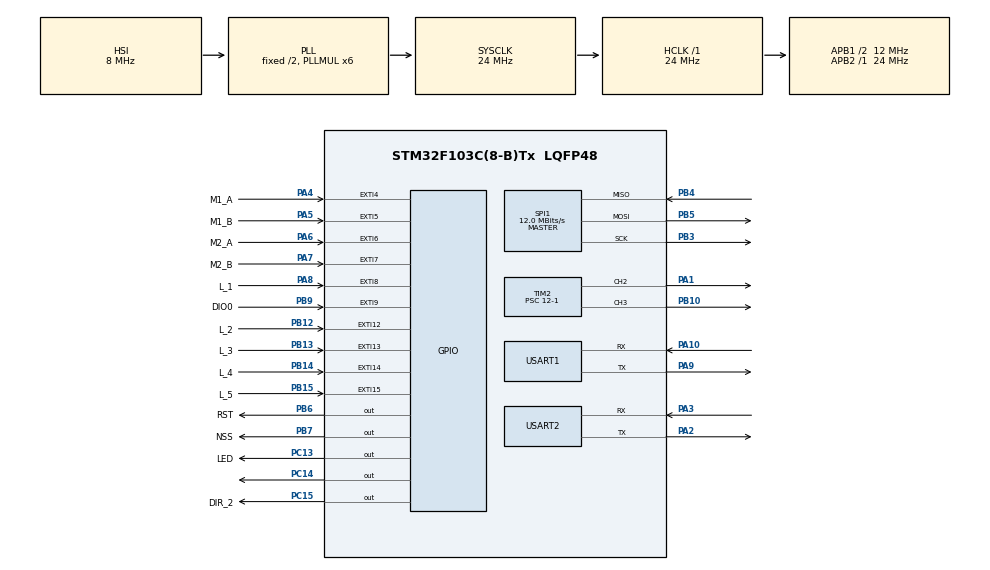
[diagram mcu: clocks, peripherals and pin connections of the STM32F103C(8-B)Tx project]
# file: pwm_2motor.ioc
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Mcu.Family=STM32F1
Mcu.Name=STM32F103C(8-B)Tx
Mcu.Package=LQFP48
NVIC.EXTI15_10_IRQn=true\:0\:0\:false\:false\:true\:true\:true\:true
NVIC.EXTI4_IRQn=true\:0\:0\:false\:false\:true\:true\:true\:true
NVIC.EXTI9_5_IRQn=true\:0\:0\:false\:false\:true\:true\:true\:true
NVIC.PriorityGroup=NVIC_PRIORITYGROUP_4
NVIC.TIM3_IRQn=true\:0\:0\:false\:false\:true\:true\:true\:true
NVIC.TIM4_IRQn=true\:0\:0\:false\:false\:true\:true\:true\:true
NVIC.USART1_IRQn=true\:0\:0\:false\:false\:true\:true\:true\:true
NVIC.USART2_IRQn=true\:0\:0\:false\:false\:true\:true\:true\:true
PA1.Signal=S_TIM2_CH2
PA10.Mode=Asynchronous
PA10.Signal=USART1_RX
PA13.Mode=Serial_Wire
PA13.Signal=SYS_JTMS-SWDIO
PA14.Mode=Serial_Wire
PA14.Signal=SYS_JTCK-SWCLK
PA2.Mode=Asynchronous
PA2.Signal=USART2_TX
PA3.Mode=Asynchronous
PA3.Signal=USART2_RX
PA4.GPIO_Label=M1_A
PA4.GPIO_ModeDefaultEXTI=GPIO_MODE_IT_RISING_FALLING
PA4.Signal=GPXTI4
PA5.GPIO_Label=M1_B
PA5.GPIO_ModeDefaultEXTI=GPIO_MODE_IT_RISING_FALLING
PA5.Signal=GPXTI5
PA6.GPIO_Label=M2_A
PA6.GPIO_ModeDefaultEXTI=GPIO_MODE_IT_RISING_FALLING
PA6.Signal=GPXTI6
PA7.GPIO_Label=M2_B
PA7.GPIO_ModeDefaultEXTI=GPIO_MODE_IT_RISING_FALLING
PA7.Signal=GPXTI7
PA8.GPIO_Label=L_1
PA8.GPIO_ModeDefaultEXTI=GPIO_MODE_IT_RISING_FALLING
PA8.GPIO_PuPd=GPIO_PULLUP
PA8.Signal=GPXTI8
PA9.Mode=Asynchronous
PA9.Signal=USART1_TX
PB10.Signal=S_TIM2_CH3
PB12.GPIO_Label=L_2
PB12.GPIO_ModeDefaultEXTI=GPIO_MODE_IT_RISING_FALLING
PB12.GPIO_PuPd=GPIO_PULLUP
PB12.Signal=GPXTI12
PB13.GPIO_Label=L_3
PB13.GPIO_ModeDefaultEXTI=GPIO_MODE_IT_RISING_FALLING
PB13.GPIO_PuPd=GPIO_PULLUP
PB13.Signal=GPXTI13
PB14.GPIO_Label=L_4
PB14.GPIO_ModeDefaultEXTI=GPIO_MODE_IT_RISING_FALLING
PB14.GPIO_PuPd=GPIO_PULLUP
PB14.Signal=GPXTI14
PB15.GPIO_Label=L_5
PB15.GPIO_ModeDefaultEXTI=GPIO_MODE_IT_RISING_FALLING
PB15.GPIO_PuPd=GPIO_PULLUP
PB15.Signal=GPXTI15
PB3.Mode=Full_Duplex_Master
PB3.Signal=SPI1_SCK
PB4.Mode=Full_Duplex_Master
PB4.Signal=SPI1_MISO
PB5.Mode=Full_Duplex_Master
PB5.Signal=SPI1_MOSI
PB6.GPIO_Label=RST
PB6.PinState=GPIO_PIN_SET
PB6.Signal=GPIO_Output
PB7.GPIO_Label=NSS
PB7.GPIO_PuPd=GPIO_PULLDOWN
PB7.Signal=GPIO_Output
PB9.GPIO_Label=DIO0
PB9.GPIO_ModeDefaultEXTI=GPIO_MODE_IT_RISING_FALLING
PB9.GPIO_PuPd=GPIO_PULLDOWN
PB9.Signal=GPXTI9
PC13-TAMPER-RTC.GPIO_Label=LED
PC13-TAMPER-RTC.Signal=GPIO_Output
PC14-OSC32_IN.Signal=GPIO_Output
PC15-OSC32_OUT.GPIO_Label=DIR_2
PC15-OSC32_OUT.Signal=GPIO_Output
ProjectManager.HeapSize=0x200
ProjectManager.StackSize=0x400
ProjectManager.TargetToolchain=STM32CubeIDE
RCC.AHBFreq_Value=24000000
RCC.APB1CLKDivider=RCC_HCLK_DIV2
RCC.APB1Freq_Value=12000000
RCC.APB1TimFreq_Value=24000000
RCC.APB2Freq_Value=24000000
RCC.APB2TimFreq_Value=24000000
RCC.HCLKFreq_Value=24000000
RCC.PLLMUL=RCC_PLL_MUL6
RCC.SYSCLKFreq_VALUE=24000000
RCC.SYSCLKSource=RCC_SYSCLKSOURCE_PLLCLK
RCC.USBFreq_Value=24000000
SH.S_TIM2_CH2.0=TIM2_CH2,PWM Generation2 CH2
SH.S_TIM2_CH3.0=TIM2_CH3,PWM Generation3 CH3
SPI1.CalculateBaudRate=12.0 MBits/s
SPI1.Direction=SPI_DIRECTION_2LINES
SPI1.Mode=SPI_MODE_MASTER
SPI1.VirtualType=VM_MASTER
TIM2.Channel-PWM\ Generation2\ CH2=TIM_CHANNEL_2
TIM2.Channel-PWM\ Generation3\ CH3=TIM_CHANNEL_3
TIM2.Period=1000-1
TIM2.Prescaler=12-1
TIM3.Period=5000-1
TIM3.Prescaler=24-1
TIM4.Period=10000-1
TIM4.Prescaler=24-1
USART1.VirtualMode=VM_ASYNC
USART2.VirtualMode=VM_ASYNC
VP_TIM3_VS_ClockSourceINT.Mode=Internal
VP_TIM4_VS_ClockSourceINT.Mode=Internal
board=custom

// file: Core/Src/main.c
/* USER CODE BEGIN Header */
/**
  ******************************************************************************
  * @file           : main.c
  * @brief          : Main program body
  ******************************************************************************
  * @attention
  *
  * Copyright (c) 2023 STMicroelectronics.
  * All rights reserved.
  *
  * This software is licensed under terms that can be found in the LICENSE file
  * in the root directory of this software component.
  * If no LICENSE file comes with this software, it is provided AS-IS.
  *
  ******************************************************************************
  */
/* USER CODE END Header */
#include "main.h"

/* USER CODE BEGIN Includes */
#include "string.h"
#include "stdio.h"
#include "stdlib.h"
#include "stdbool.h"
#include "LoRa.h"

/* USER CODE END Includes */

/* USER CODE BEGIN PTD */

/*
 * struct includes variables of pid control
 * param:	kp --- propotion
 * 			ki --- integral		kb 		--- anti windup
 * 			kd --- derivative	alpha 	--- lowpass filter
 **/
typedef struct pid
{
	float kp 	;
	float ki 	;
	float kd	;
	float kb 	;
	float alpha ;
	bool  dir	;
}pid;

/*
 * struct includes variables of motor's feedback
 * param:	current_Pos --- current position uint: radian
 * 			real_Pos	--- position uint: meters
 * 			current_Vel --- current velocity uint: rad/s
 * 			RPM			--- roll per minute
 **/

typedef struct motor
{
	float current_Pos	;
	float real_Pos		;
	float current_Vel	;
	float RPM			;
}motor;

/*Lora init*/
LoRa my_lora;

/* USER CODE END PTD */

/* USER CODE BEGIN PD */

#define pi 				3.14
#define rad_round		2*pi
#define	rad_pulse 		pi/748
#define r_Wheel			0.0325
#define sample_time		0.005
#define cl_Wise			1
#define cntr_cl_Wise	0
/* USER CODE END PD */

SPI_HandleTypeDef hspi1;

TIM_HandleTypeDef htim2;
TIM_HandleTypeDef htim3;
TIM_HandleTypeDef htim4;

UART_HandleTypeDef huart1;
UART_HandleTypeDef huart2;

/* USER CODE BEGIN PV */
uint8_t *rx_buff, rx_index = 0, cnt =1;
uint8_t rx_buffer[20], rx_data, rx_indx ;
uint8_t prevState_1 =0, prevState_2 = 0, state_line  ;
uint16_t pwm1 ,pwm2 , tim4_tick =0, DesiredPos, DesiredSpeed ;
uint16_t cnt_vel_1=0 , cnt_vel_2=0 ;
int32_t cnt_pos_1 = 0, cnt_pos_2 = 0, round_1 =0, round_2 = 0;
//float current_Pos1=0, current_Pos2=0, vel_Rad1 =0 , vel_Rad2 =0;
bool run = false, flag = false;
motor motor_1;
motor motor_2;
pid pid_1,pid_2;

/* USER CODE END PV */

void SystemClock_Config(void);
static void MX_GPIO_Init(void);
static void MX_TIM2_Init(void);
static void MX_TIM3_Init(void);
static void MX_TIM4_Init(void);
static void MX_USART1_UART_Init(void);
static void MX_SPI1_Init(void);
static void MX_USART2_UART_Init(void);
/* USER CODE BEGIN PFP */

#ifdef __GNUC__
	#define PUTCHAR_PROTOTYPE int __io_putchar(int ch)
#else
	#define PUTCHAR_PROTOTYPE int fputc(int ch, FILE *f)
	#define GETCHAR_PROTOTYPE int fgetc(FILE *f)
#endif

PUTCHAR_PROTOTYPE
	{
		HAL_UART_Transmit(&huart2, (uint8_t*)&ch,1,100);
		return ch;
	}

/* USER CODE END PFP */

/* USER CODE BEGIN 0 */

//int _write(int file, char *ptr, int len)
//{
//  /* Implement your write code here, this is used by puts and printf for example */
//  int i=0;
//  for(i=0 ; i<len ; i++)
//    ITM_SendChar((*ptr++));
//  return len;
//}
//
uint8_t count =0;

///-------------PROTOTYPE--------------------///

void handle_rx_data(uint8_t* receive_data, uint8_t count);
uint16_t pid_velo(float setpoint, float current, pid pid);
uint16_t pid_pos(float setpoint, float current,  pid pid);
uint16_t pid_line(float setpoint, float current, pid pid);
void setRoute(uint8_t state);
void clockWise(motor motor);
void cnterClockwise(motor motor);

/*-----calback function when recieve data via uart-----------
 * Using recieve_IT()
 * */
void HAL_UART_RxCpltCallback(UART_HandleTypeDef *huart){
	uint8_t i;
				if(huart->Instance == USART2) //uart1
				{
						if(rx_indx==0) {for (i=0;i<20;i++) rx_buffer[i] = 0;}

				switch(rx_data) {
		            /* dung dong co */
		            case 'e':
		                run =false;
		                break;

		            /* dong co chay */
		            case 'r':
		                run = true;
		                break;
		            case 'k':
						flag = true;
						break;
		            case 'l':
						flag = false;
						break;
		            case 'b':
		//								reset();
										break;
		            case 's':
		                DesiredPos = atoi((const char *)rx_buffer);
		                memset(&rx_buffer, 0, sizeof(rx_buffer));
		                rx_indx = 0;
		                break;
		            case 'v':
		                DesiredSpeed = atoi((const char *)rx_buffer);
		                //DesiredVel = DesiredSpeed * (pi/30);
		                memset(&rx_buffer, 0, sizeof(rx_buffer));
		                rx_indx = 0;
		                break;

//		            case 'p':
//		            	kp = atof((const char *)rx_buffer);
//		            	memset(&rx_buffer, 0, sizeof(rx_buffer));
//		            	rx_index = 0 ;
//		            	break;
//
//		            case 'i':
//						ki = atof((const char *)rx_buffer);
//						memset(&rx_buffer, 0, sizeof(rx_buffer));
//						rx_index = 0 ;
//						break;
//		            case 'd':
//						kd = atof((const char *)rx_buffer);
//						memset(&rx_buffer, 0, sizeof(rx_buffer));
//						rx_index = 0 ;
//						break;

		            case '0':
		            case '1':
		            case '2':
		            case '3':
		            case '4':
		            case '5':
		            case '6':
		            case '7':
		            case '8':
		            case '9':
		            case '.':
		            case '-':
		                rx_buffer[rx_indx++] |= rx_data;
		                break;
		            default:
		                break;
		        }
						HAL_UART_Receive_IT(&huart1,&rx_data,1);
				}
	}

void handle_rx_data(uint8_t* receive_data, uint8_t count){

	if(!count)
		return;

	rx_buff = (uint8_t*)malloc(cnt*sizeof(uint8_t));
	for(int i =0 ; i< count; i++){

		switch(receive_data[i]){

		case (uint8_t)'r':
			////
			break;

		case (uint8_t)'s':
			////
			break;

		case (uint8_t)'v':
			////
			DesiredSpeed = atoi((const char*)rx_buff);
			memset(rx_buff,0,sizeof(*rx_buff));
			rx_index = 0;
			cnt =1;
			break;

		case (uint8_t)'p':
			DesiredPos = atoi((const char*)rx_buff);
			memset(rx_buff,0,sizeof(*rx_buff));
			rx_index =0;
			cnt =1;
			break;

		case '0':
		case '1':
		case '2':
		case '3':
		case '4':
		case '5':
		case '6':
		case '7':
		case '8':
		case '9':
			cnt ++;
			rx_buff = (uint8_t*)realloc(rx_buff,cnt*sizeof(uint8_t));
			rx_buff[rx_index++] = receive_data[i];
			break;
		default:
			break;
		}

	}

	if(rx_buff != NULL)
		{free(rx_buff);}

}

	/*--------------xu li ngat ngoai---------------*/
void HAL_GPIO_EXTI_Callback(uint16_t GPIO_Pin)
{
  /* Prevent unused argument(s) compilation warning */
  UNUSED(GPIO_Pin);
  /* NOTE: This function Should not be modified, when the callback is needed,
           the HAL_GPIO_EXTI_Callback could be implemented in the user file
   */

  /*DIO0 interupt detect data transmit or reveived */
  if(GPIO_Pin == DIO0_Pin){

	  HAL_GPIO_TogglePin(LED_GPIO_Port, LED_Pin);

  }

  /*
   * Using external interrupt pins to calculate feedback from encoder of motor
   * EXTI in rising and falling mode --- 4 counts for 1 pulse
   * Motor 1: channel A -> EXTI 4 ; channel B -> EXTI 5
   * Motor 2: channel A -> EXTI 6 ; channel B -> EXTI 7*/
  //// encoder motor 1 channel A

  if(GPIO_Pin == M1_A_Pin){
	  uint8_t state =0;
	  state  = HAL_GPIO_ReadPin(GPIOA, M1_A_Pin);
	  state  = (state << 1) | HAL_GPIO_ReadPin(GPIOA, M1_B_Pin);
	  state &= 0x03;
	  switch (state){
	  case 0:
		  if(prevState_1 == 1)
			  cnt_pos_1 ++;
		  else
			  cnt_pos_1 --;
	  break;
	  case 1:
	  		  if(prevState_1 == 3)
	  			  cnt_pos_1 ++;
	  		  else
	  			  cnt_pos_1 --;
	  break;
	  case 2:
	  		  if(prevState_1 == 0)
	  			  cnt_pos_1 ++;
	  		  else
	  			  cnt_pos_1 --;
	  break;
	  case 3:
	  		  if(prevState_1 == 2)
	  			  cnt_pos_1 ++;
	  		  else
	  			  cnt_pos_1 --;
	  break;
	  }
	  cnt_vel_1 ++;
	  prevState_1 = state;
	  if(cnt_pos_1 >1495){
		  round_1 ++;
		  cnt_pos_1 =0;
	  }
	  if(cnt_pos_1 < -1495){
		  round_1 --;
		  cnt_pos_1 =0;
	  }
  }

  //// encoder motor 1 channel B

  if(GPIO_Pin == M1_B_Pin){
  	  uint8_t state =0;
  	  state  = HAL_GPIO_ReadPin(GPIOA, M1_A_Pin);
  	  state  = (state << 1) | HAL_GPIO_ReadPin(GPIOA, M1_B_Pin);
  	  state &= 0x03;
  	  switch (state){
  	  case 0:
  		  if(prevState_1 == 1)
  			  cnt_pos_1 ++;
  		  else
  			  cnt_pos_1 --;
  	  break;
  	  case 1:
		  if(prevState_1 == 3)
			  cnt_pos_1 ++;
		  else
			  cnt_pos_1 --;
  	  break;
  	  case 2:
		  if(prevState_1 == 0)
			  cnt_pos_1 ++;
		  else
			  cnt_pos_1 --;
  	  break;
  	  case 3:
		  if(prevState_1 == 2)
			  cnt_pos_1 ++;
		  else
			  cnt_pos_1 --;
  	  break;
  	  }
  	  cnt_vel_1 ++;
  	  prevState_1 = state;
  	  if(cnt_pos_1 >1495){
  		  round_1 ++;
  		  cnt_pos_1 =0;
  	  }
  	  if(cnt_pos_1 < -1495){
  		  round_1 --;
  		  cnt_pos_1 =0;
  	  }
    }

  //// encoder motor 2 channel A

  if(GPIO_Pin == M2_A_Pin){
  	  uint8_t state =0;
  	  state  = HAL_GPIO_ReadPin(GPIOA, M2_A_Pin);
  	  state  = (state << 1) | HAL_GPIO_ReadPin(GPIOA, M2_B_Pin);
  	  state &= 0x03;
  	  switch (state){
  	  case 0:
  		  if(prevState_2 == 1)
  			  cnt_pos_2 ++;
  		  else
  			  cnt_pos_2 --;
  	  break;
  	  case 1:
  	  		  if(prevState_2 == 3)
  	  			  cnt_pos_2 ++;
  	  		  else
  	  			  cnt_pos_2 --;
  	  break;
  	  case 2:
  	  		  if(prevState_2 == 0)
  	  			  cnt_pos_2 ++;
  	  		  else
  	  			  cnt_pos_2 --;
  	  break;
  	  case 3:
  	  		  if(prevState_2 == 2)
  	  			  cnt_pos_2 ++;
  	  		  else
  	  			  cnt_pos_2 --;
  	  break;
  	  }
  	  cnt_vel_2 ++;
  	  prevState_2 = state;
  	  if(cnt_pos_2 >1495){
  		  round_2 ++;
  		  cnt_pos_2 =0;
  	  }
  	  if(cnt_pos_2 < -1495){
  		  round_2 --;
  		  cnt_pos_2 =0;
  	  }
    }

    //// encoder motor 2 channel B

    if(GPIO_Pin == M2_B_Pin){
    	  uint8_t state =0;
    	  state  = HAL_GPIO_ReadPin(GPIOA, M2_A_Pin);
    	  state  = (state << 1) | HAL_GPIO_ReadPin(GPIOA, M2_B_Pin);
    	  state &= 0x03;
    	  switch (state){
    	  case 0:
    		  if(prevState_2 == 1)
    			  cnt_pos_2 ++;
    		  else
    			  cnt_pos_2 --;
    	  break;
    	  case 1:
    	  		  if(prevState_2 == 3)
    	  			  cnt_pos_2 ++;
    	  		  else
    	  			  cnt_pos_2 --;
    	  break;
    	  case 2:
    	  		  if(prevState_2 == 0)
    	  			  cnt_pos_2 ++;
    	  		  else
    	  			  cnt_pos_2 --;
    	  break;
    	  case 3:
    	  		  if(prevState_2 == 2)
    	  			  cnt_pos_2 ++;
    	  		  else
    	  			  cnt_pos_2 --;
    	  break;
    	  }
    	  cnt_vel_2 ++;
    	  prevState_2 = state;
    	  if(cnt_pos_2 >1495){
    		  round_2 ++;
    		  cnt_pos_2 =0;
    	  }
    	  if(cnt_pos_2 < -1495){
    		  round_2 --;
    		  cnt_pos_2 =0;
    	  }
      }

    /*
     * Handle interupt for 5 digtal signal from module line tracking
     * Read each pin and save value to 1 byte uin8_t
     * convert state byte to direction of model to pid control 2 wheels.
     *   */
    if(GPIO_Pin == L_1_Pin){
    	uint8_t state;
    	state = HAL_GPIO_ReadPin(L_1_GPIO_Port, L_1_Pin);
    	state_line = (state & 1)?(state_line | (1<<0U)):(state_line ^ (1<<0U));
    }

    if(GPIO_Pin == L_2_Pin){
    	uint8_t state;
    	state = HAL_GPIO_ReadPin(L_2_GPIO_Port, L_2_Pin);
    	state_line = (state & 1)?(state_line | (1<<1U)):(state_line ^ (1<<1U));
    }

    if(GPIO_Pin == L_3_Pin){
    	uint8_t state;
    	state = HAL_GPIO_ReadPin(L_3_GPIO_Port, L_3_Pin);
    	state_line = (state & 1)?(state_line | (1<<2U)):(state_line ^ (1<<2U));
    }

    if(GPIO_Pin == L_4_Pin){
    	uint8_t state;
    	state = HAL_GPIO_ReadPin(L_4_GPIO_Port, L_4_Pin);
    	state_line = (state & 1)?(state_line | (1<<3U)):(state_line ^ (1<<3U));
    }

    if(GPIO_Pin == L_5_Pin){
    	uint8_t state;
    	state = HAL_GPIO_ReadPin(L_5_GPIO_Port, L_5_Pin);
    	state_line = (state & 1)?(state_line | (1<<4U)):(state_line ^ (1<<4U));

    }
}

/**
 * Using timer callback function() to calculate position and velocity of 2 motors
 * TIM3: period 5ms --- calculate position and velocity
 * TIM4: period 1ms --- transmit data via protocol to host
 * */
void HAL_TIM_PeriodElapsedCallback(TIM_HandleTypeDef *htim){

	if(htim->Instance == TIM3){

		motor_1.current_Pos = round_1*rad_round + cnt_pos_1*rad_pulse; ///position motor 1: (rad)
		motor_1.real_Pos	= motor_1.current_Pos * r_Wheel; 		   /// L = (rad)*R
		motor_1.RPM 		= cnt_vel_1 * 8.02139;		 /// v = count*(1/1496)/(0.005/60) (rpm)
		cnt_vel_1			= 0;
		motor_1.current_Vel	= motor_1.RPM * (pi/30); 	 /// v (rad/s)

		motor_2.current_Pos = round_2*rad_round + cnt_pos_2*rad_pulse; ///position motor 1: (rad)
		motor_2.real_Pos	= motor_2.current_Pos * r_Wheel; 		   /// L = (rad)*R
		motor_2.RPM 		= cnt_vel_2 * 8.02139;		 /// v = count*(1/1496)/(0.005/60) (rpm)
		cnt_vel_2			= 0;
		motor_2.current_Vel	= motor_2.RPM * (pi/30); 	 /// v (rad/s)

		pwm1 = pid_velo(DesiredSpeed, motor_1.RPM, pid_1);

		if(run == true){
			__HAL_TIM_SET_COMPARE(&htim2,TIM_CHANNEL_2,DesiredSpeed);
			//__HAL_TIM_SET_COMPARE(&htim2,TIM_CHANNEL_3, 480);

		}
		if(run == false){
			__HAL_TIM_SET_COMPARE(&htim2,TIM_CHANNEL_2,0 );
		}

	}
	if(htim->Instance == TIM4){
		if(run == true){
		tim4_tick ++;
		if(tim4_tick == 16){
			printf("V%d\r\n", (int)motor_1.RPM);
			tim4_tick = 0;
		}
//		if(tim4_tick == 8){
//			printf("P%f\r\n", motor_1.current_Pos);
//			tim4_tick = 0;
//		}
		}

	}

}

/*
 * brief: pid control calculate
 * param: setpoint	--- offset value
 * 		  current	--- current value
 * 		  kp,ki,kd	--- P,I,D ratio
*  return: value for pwm
**/
uint16_t pid_velo(float setpoint, float current, pid pid){

	static float ui_prev =0, err_prev = 0, err_sat = 0, ud_ftr_prev = 0;
	float err,up,ui,ud,pid_term,pid_sat,err_windup, ud_filter;
	uint16_t pwm;
	int16_t HILIM = 1000, LOLIM = 0;

	err 		= setpoint - current						;		/*Error*/
	up			= pid.kp*err								;		/*Propotion*/
	err_windup	= pid.ki*err + pid.kb*err_sat				;		/*Antiwindup*/
	ui			= ui_prev + err_windup*sample_time			;		/*Intergral*/
	ud			= pid.kd*(err-err_prev)/sample_time			;		/*Derivatvie*/
	ud_filter	= ud*pid.alpha + (1 - pid.alpha)*ud_ftr_prev;		/*Lowpass filter*/
	pid_term	= up + ui + ud_filter						;

	////--------SATURATION---------///
	if(pid_term > HILIM)
		pid_sat = HILIM			;
	if(pid_term < LOLIM)
		pid_sat = LOLIM			;
	else
		pid_sat = pid_term		;
	err_sat = pid_sat - pid_term;
	/*-------------------------------*/

	/*Store previous value for next pid calculate*/
	ui_prev = ui			;
	err_prev = err			;
	ud_ftr_prev = ud_filter	;
	/*-------------------------------------------*/

	pwm = (unsigned int)pid_sat	;
	return pwm;
}

uint16_t pid_pos(float setpoint, float current,  pid pid){

	static float ui_prev =0, err_prev = 0, err_sat = 0, ud_ftr_prev = 0;
	float err,up,ui,ud,pid_term,pid_sat,err_windup, ud_filter;
	uint16_t pwm;
	int16_t HILIM = 1000, LOLIM = -1000;

	err 		= setpoint - current						;		/*Error*/
	up			= pid.kp*err								;		/*Propotion*/
	err_windup	= pid.ki*err + pid.kb*err_sat				;		/*Antiwindup*/
	ui			= ui_prev + err_windup*sample_time			;		/*Intergral*/
	ud			= pid.kd*(err-err_prev)/sample_time			;		/*Derivatvie*/
	ud_filter	= ud*pid.alpha + (1 - pid.alpha)*ud_ftr_prev;		/*Lowpass filter*/
	pid_term	= up + ui + ud_filter						;

	////--------SATURATION---------///
	if(pid_term > HILIM)
		pid_sat = HILIM			;
	if(pid_term < LOLIM)
		pid_sat = LOLIM			;
	else
		pid_sat = pid_term		;

	////--------Direction---------///
	if(pid_sat > 0)
		pid.dir = 1;
	if(pid_sat < 0)
		pid.dir = 0;

	/*Store previous value for next pid calculate*/
	ui_prev = ui					;
	err_prev = err					;
	ud_ftr_prev = ud_filter			;
	err_sat = pid_sat - pid_term	;
	/*-------------------------------------------*/

	pwm = abs((int)pid_sat)			;
	return pwm;

}

void clockWise(motor motor){

}

uint16_t pid_line(float setpoint, float current, pid pid){

	static float ui_prev =0, err_prev = 0;
	float err,up,ui,ud,pid_term;
	uint16_t pwm;
	int16_t HILIM = 200, LOLIM = -200;
	err = setpoint - current;
	up = pid.kp*err;
	ui = ui_prev + pid.ki*err*sample_time;
	ud = pid.kd*(err - err_prev)/sample_time;
	pid_term = up + ui + ud;
	if(pid_term > HILIM)
		pid_term = HILIM			;
	if(pid_term < LOLIM)
		pid_term = LOLIM			;
	pwm = (uint16_t)abs(pid_term)	;
	return pwm;
}
/* USER CODE END 0 */

int main(void)
{

  /* MCU Configuration--------------------------------------------------------*/

  /* Reset of all peripherals, Initializes the Flash interface and the Systick. */
  HAL_Init();

  /* Configure the system clock */
  SystemClock_Config();

  /* Initialize all configured peripherals */
  MX_GPIO_Init();
  MX_TIM2_Init();
  MX_TIM3_Init();
  MX_TIM4_Init();
  MX_USART1_UART_Init();
  MX_SPI1_Init();
  MX_USART2_UART_Init();
  /* USER CODE BEGIN 2 */

  /// ham khoi tao 2 kenh pwm cho 2 dong co
  HAL_TIM_PWM_Start(&htim2,TIM_CHANNEL_2);
  HAL_TIM_PWM_Start(&htim2,TIM_CHANNEL_3);
  HAL_TIM_Base_Start_IT(&htim3);
  HAL_TIM_Base_Start_IT(&htim4);

  __HAL_TIM_SET_COMPARE(&htim2,TIM_CHANNEL_2,0);
  __HAL_TIM_SET_COMPARE(&htim2,TIM_CHANNEL_3,0);

  /// ngat uart_rx
  HAL_UART_Receive_IT(&huart2, &rx_data,1);

  /// init value of 2 motors
  motor_1.current_Pos = 0;
  motor_1.current_Vel = 0;

  motor_2.current_Pos = 0;
  motor_2.current_Vel = 0;

  /* USER CODE END 2 */

  /* Infinite loop */
  while (1)
  {

    /* USER CODE BEGIN 3 */
	  switch(state_line){

	  	  case 0x1B:
	  		  run = true;
	  		  break;
	  	  case 0x1F:
	  		  run = false;
	  		  break;

	  }

	  HAL_GPIO_TogglePin(GPIOC,LED_Pin );

	  HAL_Delay(500);
  }
  /* USER CODE END 3 */
}

void SystemClock_Config(void)
{
  RCC_OscInitTypeDef RCC_OscInitStruct = {0};
  RCC_ClkInitTypeDef RCC_ClkInitStruct = {0};

  /** Initializes the RCC Oscillators according to the specified parameters
  * in the RCC_OscInitTypeDef structure.
  */
  RCC_OscInitStruct.OscillatorType = RCC_OSCILLATORTYPE_HSI;
  RCC_OscInitStruct.HSIState = RCC_HSI_ON;
  RCC_OscInitStruct.HSICalibrationValue = RCC_HSICALIBRATION_DEFAULT;
  RCC_OscInitStruct.PLL.PLLState = RCC_PLL_ON;
  RCC_OscInitStruct.PLL.PLLSource = RCC_PLLSOURCE_HSI_DIV2;
  RCC_OscInitStruct.PLL.PLLMUL = RCC_PLL_MUL6;
  if (HAL_RCC_OscConfig(&RCC_OscInitStruct) != HAL_OK)
  {
    Error_Handler();
  }

  /** Initializes the CPU, AHB and APB buses clocks
  */
  RCC_ClkInitStruct.ClockType = RCC_CLOCKTYPE_HCLK|RCC_CLOCKTYPE_SYSCLK
                              |RCC_CLOCKTYPE_PCLK1|RCC_CLOCKTYPE_PCLK2;
  RCC_ClkInitStruct.SYSCLKSource = RCC_SYSCLKSOURCE_PLLCLK;
  RCC_ClkInitStruct.AHBCLKDivider = RCC_SYSCLK_DIV1;
  RCC_ClkInitStruct.APB1CLKDivider = RCC_HCLK_DIV2;
  RCC_ClkInitStruct.APB2CLKDivider = RCC_HCLK_DIV1;

  if (HAL_RCC_ClockConfig(&RCC_ClkInitStruct, FLASH_LATENCY_0) != HAL_OK)
  {
    Error_Handler();
  }
}

static void MX_SPI1_Init(void)
{

  /* SPI1 parameter configuration*/
  hspi1.Instance = SPI1;
  hspi1.Init.Mode = SPI_MODE_MASTER;
  hspi1.Init.Direction = SPI_DIRECTION_2LINES;
  hspi1.Init.DataSize = SPI_DATASIZE_8BIT;
  hspi1.Init.CLKPolarity = SPI_POLARITY_LOW;
  hspi1.Init.CLKPhase = SPI_PHASE_1EDGE;
  hspi1.Init.NSS = SPI_NSS_SOFT;
  hspi1.Init.BaudRatePrescaler = SPI_BAUDRATEPRESCALER_2;
  hspi1.Init.FirstBit = SPI_FIRSTBIT_MSB;
  hspi1.Init.TIMode = SPI_TIMODE_DISABLE;
  hspi1.Init.CRCCalculation = SPI_CRCCALCULATION_DISABLE;
  hspi1.Init.CRCPolynomial = 10;
  if (HAL_SPI_Init(&hspi1) != HAL_OK)
  {
    Error_Handler();
  }

}

static void MX_TIM2_Init(void)
{

  TIM_MasterConfigTypeDef sMasterConfig = {0};
  TIM_OC_InitTypeDef sConfigOC = {0};

  htim2.Instance = TIM2;
  htim2.Init.Prescaler = 12-1;
  htim2.Init.CounterMode = TIM_COUNTERMODE_UP;
  htim2.Init.Period = 1000-1;
  htim2.Init.ClockDivision = TIM_CLOCKDIVISION_DIV1;
  htim2.Init.AutoReloadPreload = TIM_AUTORELOAD_PRELOAD_DISABLE;
  if (HAL_TIM_PWM_Init(&htim2) != HAL_OK)
  {
    Error_Handler();
  }
  sMasterConfig.MasterOutputTrigger = TIM_TRGO_RESET;
  sMasterConfig.MasterSlaveMode = TIM_MASTERSLAVEMODE_DISABLE;
  if (HAL_TIMEx_MasterConfigSynchronization(&htim2, &sMasterConfig) != HAL_OK)
  {
    Error_Handler();
  }
  sConfigOC.OCMode = TIM_OCMODE_PWM1;
  sConfigOC.Pulse = 0;
  sConfigOC.OCPolarity = TIM_OCPOLARITY_HIGH;
  sConfigOC.OCFastMode = TIM_OCFAST_DISABLE;
  if (HAL_TIM_PWM_ConfigChannel(&htim2, &sConfigOC, TIM_CHANNEL_2) != HAL_OK)
  {
    Error_Handler();
  }
  if (HAL_TIM_PWM_ConfigChannel(&htim2, &sConfigOC, TIM_CHANNEL_3) != HAL_OK)
  {
    Error_Handler();
  }
  HAL_TIM_MspPostInit(&htim2);

}

static void MX_TIM3_Init(void)
{

  TIM_ClockConfigTypeDef sClockSourceConfig = {0};
  TIM_MasterConfigTypeDef sMasterConfig = {0};

  htim3.Instance = TIM3;
  htim3.Init.Prescaler = 24-1;
  htim3.Init.CounterMode = TIM_COUNTERMODE_UP;
  htim3.Init.Period = 5000-1;
  htim3.Init.ClockDivision = TIM_CLOCKDIVISION_DIV1;
  htim3.Init.AutoReloadPreload = TIM_AUTORELOAD_PRELOAD_DISABLE;
  if (HAL_TIM_Base_Init(&htim3) != HAL_OK)
  {
    Error_Handler();
  }
  sClockSourceConfig.ClockSource = TIM_CLOCKSOURCE_INTERNAL;
  if (HAL_TIM_ConfigClockSource(&htim3, &sClockSourceConfig) != HAL_OK)
  {
    Error_Handler();
  }
  sMasterConfig.MasterOutputTrigger = TIM_TRGO_RESET;
  sMasterConfig.MasterSlaveMode = TIM_MASTERSLAVEMODE_DISABLE;
  if (HAL_TIMEx_MasterConfigSynchronization(&htim3, &sMasterConfig) != HAL_OK)
  {
    Error_Handler();
  }

}

static void MX_TIM4_Init(void)
{

  TIM_ClockConfigTypeDef sClockSourceConfig = {0};
  TIM_MasterConfigTypeDef sMasterConfig = {0};

  htim4.Instance = TIM4;
  htim4.Init.Prescaler = 24-1;
  htim4.Init.CounterMode = TIM_COUNTERMODE_UP;
  htim4.Init.Period = 10000-1;
  htim4.Init.ClockDivision = TIM_CLOCKDIVISION_DIV1;
  htim4.Init.AutoReloadPreload = TIM_AUTORELOAD_PRELOAD_DISABLE;
  if (HAL_TIM_Base_Init(&htim4) != HAL_OK)
  {
    Error_Handler();
  }
  sClockSourceConfig.ClockSource = TIM_CLOCKSOURCE_INTERNAL;
  if (HAL_TIM_ConfigClockSource(&htim4, &sClockSourceConfig) != HAL_OK)
  {
    Error_Handler();
  }
  sMasterConfig.MasterOutputTrigger = TIM_TRGO_RESET;
  sMasterConfig.MasterSlaveMode = TIM_MASTERSLAVEMODE_DISABLE;
  if (HAL_TIMEx_MasterConfigSynchronization(&htim4, &sMasterConfig) != HAL_OK)
  {
    Error_Handler();
  }

}

static void MX_USART1_UART_Init(void)
{

  huart1.Instance = USART1;
  huart1.Init.BaudRate = 115200;
  huart1.Init.WordLength = UART_WORDLENGTH_8B;
  huart1.Init.StopBits = UART_STOPBITS_1;
  huart1.Init.Parity = UART_PARITY_NONE;
  huart1.Init.Mode = UART_MODE_TX_RX;
  huart1.Init.HwFlowCtl = UART_HWCONTROL_NONE;
  huart1.Init.OverSampling = UART_OVERSAMPLING_16;
  if (HAL_UART_Init(&huart1) != HAL_OK)
  {
    Error_Handler();
  }

}

static void MX_USART2_UART_Init(void)
{

  huart2.Instance = USART2;
  huart2.Init.BaudRate = 115200;
  huart2.Init.WordLength = UART_WORDLENGTH_8B;
  huart2.Init.StopBits = UART_STOPBITS_1;
  huart2.Init.Parity = UART_PARITY_NONE;
  huart2.Init.Mode = UART_MODE_TX_RX;
  huart2.Init.HwFlowCtl = UART_HWCONTROL_NONE;
  huart2.Init.OverSampling = UART_OVERSAMPLING_16;
  if (HAL_UART_Init(&huart2) != HAL_OK)
  {
    Error_Handler();
  }

}

static void MX_GPIO_Init(void)
{
  GPIO_InitTypeDef GPIO_InitStruct = {0};

  /* GPIO Ports Clock Enable */
  __HAL_RCC_GPIOC_CLK_ENABLE();
  __HAL_RCC_GPIOA_CLK_ENABLE();
  __HAL_RCC_GPIOB_CLK_ENABLE();

  /*Configure GPIO pin Output Level */
  HAL_GPIO_WritePin(GPIOC, LED_Pin|GPIO_PIN_14|DIR_2_Pin, GPIO_PIN_RESET);

  /*Configure GPIO pin Output Level */
  HAL_GPIO_WritePin(RST_GPIO_Port, RST_Pin, GPIO_PIN_SET);

  /*Configure GPIO pin Output Level */
  HAL_GPIO_WritePin(NSS_GPIO_Port, NSS_Pin, GPIO_PIN_RESET);

  /*Configure GPIO pins : LED_Pin PC14 DIR_2_Pin */
  GPIO_InitStruct.Pin = LED_Pin|GPIO_PIN_14|DIR_2_Pin;
  GPIO_InitStruct.Mode = GPIO_MODE_OUTPUT_PP;
  GPIO_InitStruct.Pull = GPIO_NOPULL;
  GPIO_InitStruct.Speed = GPIO_SPEED_FREQ_LOW;
  HAL_GPIO_Init(GPIOC, &GPIO_InitStruct);

  /*Configure GPIO pins : M1_A_Pin M1_B_Pin M2_A_Pin M2_B_Pin */
  GPIO_InitStruct.Pin = M1_A_Pin|M1_B_Pin|M2_A_Pin|M2_B_Pin;
  GPIO_InitStruct.Mode = GPIO_MODE_IT_RISING_FALLING;
  GPIO_InitStruct.Pull = GPIO_NOPULL;
  HAL_GPIO_Init(GPIOA, &GPIO_InitStruct);

  /*Configure GPIO pins : L_2_Pin L_3_Pin L_4_Pin L_5_Pin */
  GPIO_InitStruct.Pin = L_2_Pin|L_3_Pin|L_4_Pin|L_5_Pin;
  GPIO_InitStruct.Mode = GPIO_MODE_IT_RISING_FALLING;
  GPIO_InitStruct.Pull = GPIO_PULLUP;
  HAL_GPIO_Init(GPIOB, &GPIO_InitStruct);

  /*Configure GPIO pin : L_1_Pin */
  GPIO_InitStruct.Pin = L_1_Pin;
  GPIO_InitStruct.Mode = GPIO_MODE_IT_RISING_FALLING;
  GPIO_InitStruct.Pull = GPIO_PULLUP;
  HAL_GPIO_Init(L_1_GPIO_Port, &GPIO_InitStruct);

  /*Configure GPIO pin : RST_Pin */
  GPIO_InitStruct.Pin = RST_Pin;
  GPIO_InitStruct.Mode = GPIO_MODE_OUTPUT_PP;
  GPIO_InitStruct.Pull = GPIO_NOPULL;
  GPIO_InitStruct.Speed = GPIO_SPEED_FREQ_LOW;
  HAL_GPIO_Init(RST_GPIO_Port, &GPIO_InitStruct);

  /*Configure GPIO pin : NSS_Pin */
  GPIO_InitStruct.Pin = NSS_Pin;
  GPIO_InitStruct.Mode = GPIO_MODE_OUTPUT_PP;
  GPIO_InitStruct.Pull = GPIO_PULLDOWN;
  GPIO_InitStruct.Speed = GPIO_SPEED_FREQ_LOW;
  HAL_GPIO_Init(NSS_GPIO_Port, &GPIO_InitStruct);

  /*Configure GPIO pin : DIO0_Pin */
  GPIO_InitStruct.Pin = DIO0_Pin;
  GPIO_InitStruct.Mode = GPIO_MODE_IT_RISING_FALLING;
  GPIO_InitStruct.Pull = GPIO_PULLDOWN;
  HAL_GPIO_Init(DIO0_GPIO_Port, &GPIO_InitStruct);

  /* EXTI interrupt init*/
  HAL_NVIC_SetPriority(EXTI4_IRQn, 0, 0);
  HAL_NVIC_EnableIRQ(EXTI4_IRQn);

  HAL_NVIC_SetPriority(EXTI9_5_IRQn, 0, 0);
  HAL_NVIC_EnableIRQ(EXTI9_5_IRQn);

  HAL_NVIC_SetPriority(EXTI15_10_IRQn, 0, 0);
  HAL_NVIC_EnableIRQ(EXTI15_10_IRQn);

}

void Error_Handler(void)
{
  __disable_irq();
  while (1)
  {
  }
}
